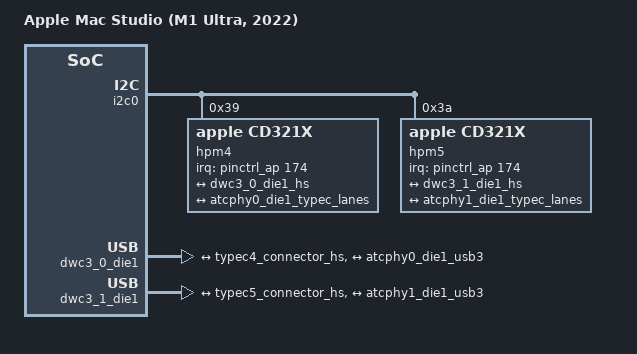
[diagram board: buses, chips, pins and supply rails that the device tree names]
// SPDX-License-Identifier: GPL-2.0+ OR MIT
/*
 * Mac Studio (M1 Ultra, 2022)
 *
 * target-type: J375d
 *
 * Copyright The Asahi Linux Contributors
 */

/dts-v1/;

#include "t6002.dtsi"
#include "t600x-j375.dtsi"

/ {
	compatible = "apple,j375d", "apple,t6002", "apple,arm-platform";
	model = "Apple Mac Studio (M1 Ultra, 2022)";

	aliases {
		atcphy4 = &atcphy0_die1;
		atcphy5 = &atcphy1_die1;
	};
};

/* USB Type C */
&i2c0 {
	/* front-right */
	hpm4: usb-pd@39 {
		compatible = "apple,cd321x";
		reg = <0x39>;
		interrupt-parent = <&pinctrl_ap>;
		interrupts = <174 IRQ_TYPE_LEVEL_LOW>;
		interrupt-names = "irq";

		typec4: connector {
			compatible = "usb-c-connector";
			label = "USB-C Front Right";
			power-role = "dual";
			data-role = "dual";

			ports {
				#address-cells = <1>;
				#size-cells = <0>;
				port@0 {
					reg = <0>;
					typec4_connector_hs: endpoint {
						remote-endpoint = <&dwc3_0_die1_hs>;
					};
				};
				port@1 {
					reg = <1>;
					typec4_connector_ss: endpoint {
						remote-endpoint = <&atcphy0_die1_typec_lanes>;
					};
				};
			};
		};
	};

	/* front-left */
	hpm5: usb-pd@3a {
		compatible = "apple,cd321x";
		reg = <0x3a>;
		interrupt-parent = <&pinctrl_ap>;
		interrupts = <174 IRQ_TYPE_LEVEL_LOW>;
		interrupt-names = "irq";

		typec5: connector {
			compatible = "usb-c-connector";
			label = "USB-C Front Left";
			power-role = "dual";
			data-role = "dual";

			ports {
				#address-cells = <1>;
				#size-cells = <0>;
				port@0 {
					reg = <0>;
					typec5_connector_hs: endpoint {
						remote-endpoint = <&dwc3_1_die1_hs>;
					};
				};
				port@1 {
					reg = <1>;
					typec5_connector_ss: endpoint {
						remote-endpoint = <&atcphy1_die1_typec_lanes>;
					};
				};
			};
		};
	};
};

/* USB controllers on die 1 */
&dwc3_0_die1 {
	ports {
		#address-cells = <1>;
		#size-cells = <0>;

		port@0 {
			reg = <0>;
			dwc3_0_die1_hs: endpoint {
				remote-endpoint = <&typec4_connector_hs>;
			};
		};

		port@1 {
			reg = <1>;
			dwc3_0_die1_ss: endpoint {
				remote-endpoint = <&atcphy0_die1_usb3>;
			};
		};
	};
};

&dwc3_1_die1 {
	ports {
		#address-cells = <1>;
		#size-cells = <0>;

		port@0 {
			reg = <0>;
			dwc3_1_die1_hs: endpoint {
				remote-endpoint = <&typec5_connector_hs>;
			};
		};

		port@1 {
			reg = <1>;
			dwc3_1_die1_ss: endpoint {
				remote-endpoint = <&atcphy1_die1_usb3>;
			};
		};
	};
};

/* Type-C PHYs */
&atcphy0_die1 {
	ports {
		#address-cells = <1>;
		#size-cells = <0>;

		port@0 {
			reg = <0>;
			atcphy0_die1_typec_lanes: endpoint {
				remote-endpoint = <&typec4_connector_ss>;
			};
		};

		port@1 {
			reg = <1>;
			atcphy0_die1_usb3: endpoint {
				remote-endpoint = <&dwc3_0_die1_ss>;
			};
		};
	};
};

&atcphy1_die1 {
	ports {
		#address-cells = <1>;
		#size-cells = <0>;

		port@0 {
			reg = <0>;
			atcphy1_die1_typec_lanes: endpoint {
				remote-endpoint = <&typec5_connector_ss>;
			};
		};

		port@1 {
			reg = <1>;
			atcphy1_die1_usb3: endpoint {
				remote-endpoint = <&dwc3_1_die1_ss>;
			};
		};
	};
};


/* Disable unused dwc3 instandes on the second die. */
&dwc3_2_dart_0_die1 {
	status = "disabled";
};

&dwc3_2_dart_1_die1 {
	status = "disabled";
};

&dwc3_2_die1 {
	status = "disabled";
};

&dwc3_3_dart_0_die1 {
	status = "disabled";
};

&dwc3_3_dart_1_die1 {
	status = "disabled";
};

&dwc3_3_die1 {
	status = "disabled";
};

/* Disable unused ATC phy instandes on the second die. */
&atcphy2_die1 {
	status = "disabled";
};

&atcphy3_die1 {
	status = "disabled";
};

/* Disable unused USB power-domains on the second die. */
&ps_atc2_usb_aon_die1 {
	status = "disabled";
};

&ps_atc2_usb_die1 {
	status = "disabled";
};

&ps_atc3_usb_aon_die1 {
	status = "disabled";
};

&ps_atc3_usb_die1 {
	status = "disabled";
};

/* delete unused always-on power-domains on die 1 */

/delete-node/ &ps_disp0_cpu0_die1;
/delete-node/ &ps_disp0_fe_die1;
